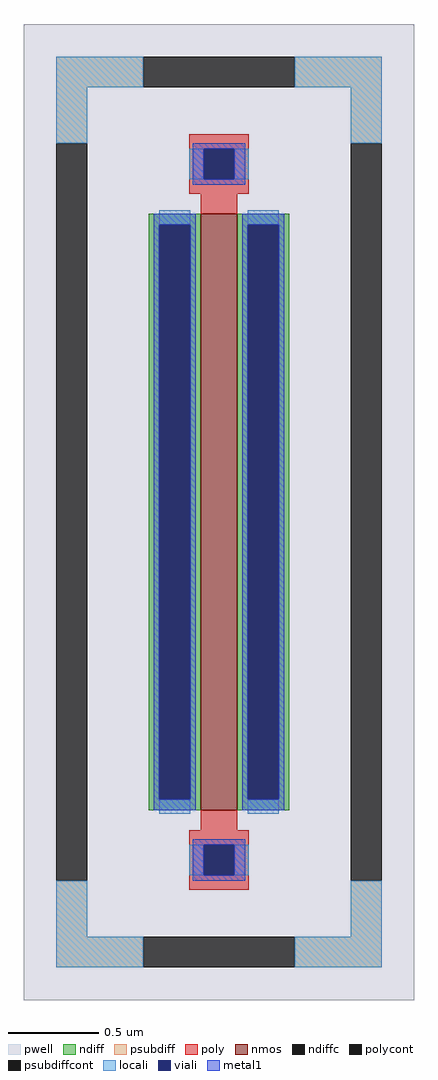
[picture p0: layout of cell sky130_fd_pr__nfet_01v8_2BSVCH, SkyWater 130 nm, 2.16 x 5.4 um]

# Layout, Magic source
magic
tech sky130A
magscale 1 2
<< pwell >>
rect -216 -540 216 540
<< nmos >>
rect -20 -330 20 330
<< ndiff >>
rect -78 318 -20 330
rect -78 -318 -66 318
rect -32 -318 -20 318
rect -78 -330 -20 -318
rect 20 318 78 330
rect 20 -318 32 318
rect 66 -318 78 318
rect 20 -330 78 -318
<< ndiffc >>
rect -66 -318 -32 318
rect 32 -318 66 318
<< psubdiff >>
rect -180 470 -84 504
rect 84 470 180 504
rect -180 408 -146 470
rect 146 408 180 470
rect -180 -470 -146 -408
rect 146 -470 180 -408
rect -180 -504 -84 -470
rect 84 -504 180 -470
<< psubdiffcont >>
rect -84 470 84 504
rect -180 -408 -146 408
rect 146 -408 180 408
rect -84 -504 84 -470
<< poly >>
rect -33 402 33 418
rect -33 368 -17 402
rect 17 368 33 402
rect -33 352 33 368
rect -20 330 20 352
rect -20 -352 20 -330
rect -33 -368 33 -352
rect -33 -402 -17 -368
rect 17 -402 33 -368
rect -33 -418 33 -402
<< polycont >>
rect -17 368 17 402
rect -17 -402 17 -368
<< locali >>
rect -180 470 -84 504
rect 84 470 180 504
rect -180 408 -146 470
rect 146 408 180 470
rect -33 368 -17 402
rect 17 368 33 402
rect -66 318 -32 334
rect -66 -334 -32 -318
rect 32 318 66 334
rect 32 -334 66 -318
rect -33 -402 -17 -368
rect 17 -402 33 -368
rect -180 -470 -146 -408
rect 146 -470 180 -408
rect -180 -504 -84 -470
rect 84 -504 180 -470
<< viali >>
rect -17 368 17 402
rect -66 -318 -32 318
rect 32 -318 66 318
rect -17 -402 17 -368
<< metal1 >>
rect -29 402 29 408
rect -29 368 -17 402
rect 17 368 29 402
rect -29 362 29 368
rect -72 318 -26 330
rect -72 -318 -66 318
rect -32 -318 -26 318
rect -72 -330 -26 -318
rect 26 318 72 330
rect 26 -318 32 318
rect 66 -318 72 318
rect 26 -330 72 -318
rect -29 -368 29 -362
rect -29 -402 -17 -368
rect 17 -402 29 -368
rect -29 -408 29 -402
<< properties >>
string FIXED_BBOX -163 -487 163 487
string gencell sky130_fd_pr__nfet_01v8
string library sky130
string parameters w 3.3 l 0.2 m 1 nf 1 diffcov 100 polycov 100 guard 1 glc 1 grc 1 gtc 1 gbc 1 tbcov 100 rlcov 100 topc 1 botc 1 poverlap 0 doverlap 1 lmin 0.15 wmin 0.42 class mosfet compatible {sky130_fd_pr__nfet_01v8 sky130_fd_pr__nfet_01v8_lvt  sky130_fd_bs_flash__special_sonosfet_star  sky130_fd_pr__nfet_g5v0d10v5 sky130_fd_pr__nfet_05v0_nvt  sky130_fd_pr__nfet_03v3_nvt} full_metal 1 viasrc 100 viadrn 100 viagate 100 viagb 0 viagr 0 viagl 0 viagt 0
<< end >>
